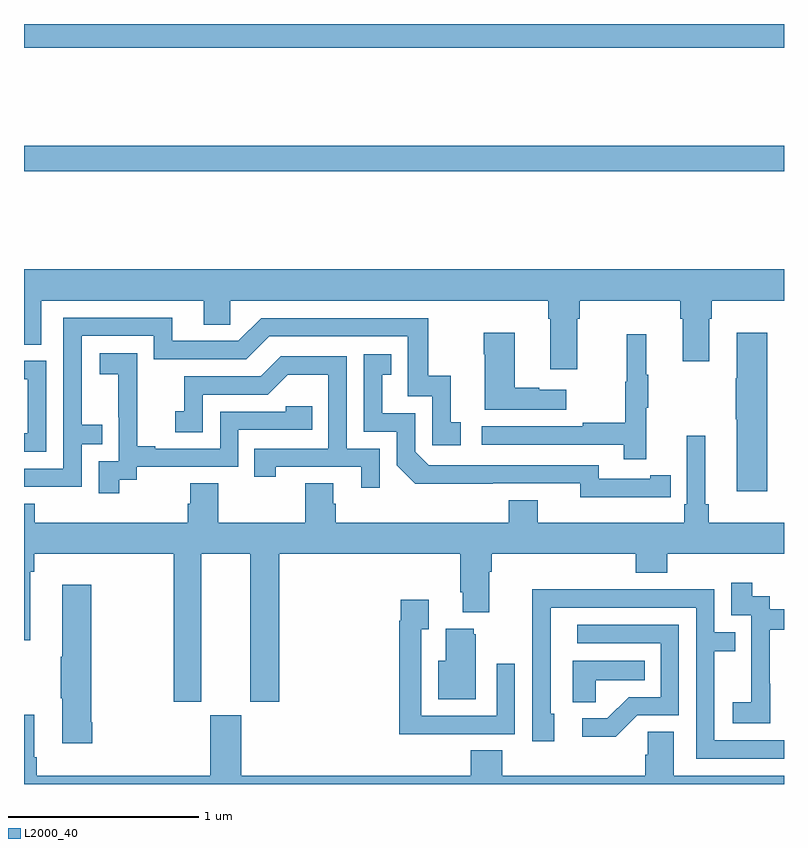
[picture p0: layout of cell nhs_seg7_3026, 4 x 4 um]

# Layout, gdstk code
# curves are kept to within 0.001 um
import gdstk
lib = gdstk.Library(unit=1e-6, precision=1e-09)
def R(c, l, rs):  # rectangles x0, y0, x1, y1
    for r in rs: c.add(gdstk.rectangle(r[:2], r[2:], *l))
def P(c, l, *ps):  # polygons
    for p in ps: c.add(gdstk.Polygon(p, *l))
L2000_40 = (2000, 40)

nhs_seg7_3026 = lib.new_cell('nhs_seg7_3026')
R(nhs_seg7_3026, L2000_40, [(303,1073.224,307,1073.36), (303,1073.876,307,1074)])
P(nhs_seg7_3026, L2000_40, [(305.911,1072.448),(305.924,1072.448),(305.924,1072.544),(306.455,1072.544),(306.455,1072.448),(306.467,1072.448),(306.467,1072.224),(306.607,1072.224),(306.607,1072.448),(306.62,1072.448),(306.62,1072.544),(307,1072.544),(307,1072.708),(303,1072.708),(303,1072.312),(303.091,1072.312),(303.091,1072.544),(303.947,1072.544),(303.947,1072.417),(304.086,1072.417),(304.086,1072.544),(305.759,1072.544),(305.759,1072.448),(305.771,1072.448),(305.771,1072.182),(305.911,1072.182)],
  [(303.303,1071.789),(303.413,1071.789),(303.413,1071.89),(303.303,1071.89),(303.303,1072.359),(303.684,1072.359),(303.684,1072.236),(304.17,1072.236),(304.29,1072.356),(305.019,1072.356),(305.019,1072.041),(305.148,1072.041),(305.148,1071.783),(305.299,1071.783),(305.299,1071.903),(305.246,1071.903),(305.246,1072.15),(305.128,1072.15),(305.128,1072.452),(304.248,1072.452),(304.128,1072.332),(303.781,1072.332),(303.781,1072.455),(303.207,1072.455),(303.207,1071.66),(303,1071.66),(303,1071.564),(303.303,1071.564)],
  [(305.854,1072.075),(305.711,1072.075),(305.711,1072.085),(305.584,1072.085),(305.584,1072.375),(305.419,1072.375),(305.419,1072.262),(305.426,1072.262),(305.426,1071.971),(305.854,1071.971)],
  [(306.911,1072.375),(306.752,1072.375),(306.752,1072.136),(306.745,1072.136),(306.745,1071.919),(306.752,1071.919),(306.752,1071.54),(306.911,1071.54)],
  [(306.275,1071.979),(306.286,1071.979),(306.286,1072.153),(306.275,1072.153),(306.275,1072.366),(306.172,1072.366),(306.172,1072.116),(306.165,1072.116),(306.165,1071.902),(305.941,1071.902),(305.941,1071.882),(305.409,1071.882),(305.409,1071.786),(306.157,1071.786),(306.157,1071.708),(306.275,1071.708)],
  [(303.502,1071.601),(303.594,1071.601),(303.594,1071.669),(304.128,1071.669),(304.128,1071.864),(304.517,1071.864),(304.517,1071.987),(304.377,1071.987),(304.377,1071.96),(304.032,1071.96),(304.032,1071.765),(303.691,1071.765),(303.691,1071.778),(303.596,1071.778),(303.596,1072.061),(303.597,1072.061),(303.597,1072.267),(303.399,1072.267),(303.399,1072.157),(303.497,1072.157),(303.497,1071.929),(303.498,1071.929),(303.498,1071.699),(303.393,1071.699),(303.393,1071.531),(303.502,1071.531)],
  [(306.296,1071.51),(306.404,1071.51),(306.404,1071.626),(306.296,1071.626),(306.296,1071.606),(306.024,1071.606),(306.024,1071.678),(305.13,1071.678),(305.058,1071.75),(305.058,1071.951),(304.885,1071.951),(304.885,1072.155),(304.934,1072.155),(304.934,1072.261),(304.788,1072.261),(304.788,1071.855),(304.962,1071.855),(304.962,1071.678),(305.06,1071.581),(305.928,1071.582),(305.928,1071.509)],
  [(304.872,1071.765),(304.698,1071.765),(304.698,1072.251),(304.352,1072.251),(304.247,1072.146),(303.844,1072.146),(303.844,1071.961),(303.795,1071.961),(303.795,1071.852),(303.942,1071.852),(303.942,1072.05),(304.284,1072.05),(304.388,1072.154),(304.602,1072.154),(304.602,1071.765),(304.213,1071.765),(304.213,1071.618),(304.324,1071.618),(304.324,1071.669),(304.775,1071.669),(304.775,1071.558),(304.872,1071.558)],
  [(303.117,1072.227),(303,1072.227),(303,1072.131),(303.021,1072.131),(303.021,1071.846),(303,1071.846),(303,1071.75),(303.117,1071.75)],
  [(303,1071.475),(303,1070.757),(303.034,1070.757),(303.034,1071.116),(303.053,1071.116),(303.053,1071.212),(303.787,1071.212),(303.787,1070.433),(303.934,1070.433),(303.934,1071.212),(304.19,1071.212),(304.19,1070.433),(304.343,1070.433),(304.343,1071.212),(305.297,1071.212),(305.297,1071.01),(305.309,1071.01),(305.309,1070.903),(305.449,1070.903),(305.449,1071.116),(305.462,1071.116),(305.462,1071.212),(306.221,1071.212),(306.221,1071.113),(306.386,1071.113),(306.386,1071.212),(307,1071.212),(307,1071.376),(306.605,1071.376),(306.605,1071.472),(306.586,1071.472),(306.586,1071.832),(306.489,1071.832),(306.489,1071.472),(306.476,1071.472),(306.476,1071.376),(305.704,1071.376),(305.704,1071.493),(305.552,1071.493),(305.552,1071.376),(304.64,1071.376),(304.64,1071.474),(304.627,1071.474),(304.627,1071.584),(304.48,1071.584),(304.48,1071.376),(304.023,1071.376),(304.023,1071.584),(303.875,1071.584),(303.875,1071.474),(303.863,1071.474),(303.863,1071.376),(303.056,1071.376),(303.056,1071.475)],
  [(306.927,1070.527),(306.926,1070.527),(306.926,1070.811),(307,1070.811),(307,1070.919),(306.924,1070.919),(306.924,1070.988),(306.832,1070.988),(306.832,1071.058),(306.723,1071.058),(306.723,1070.889),(306.828,1070.889),(306.828,1070.66),(306.827,1070.66),(306.827,1070.431),(306.729,1070.431),(306.729,1070.321),(306.927,1070.321)],
  [(303.359,1070.326),(303.354,1070.326),(303.354,1071.049),(303.2,1071.049),(303.2,1070.669),(303.193,1070.669),(303.193,1070.452),(303.2,1070.452),(303.2,1070.214),(303.359,1070.214)],
  [(307,1070.229),(306.633,1070.229),(306.633,1070.698),(306.743,1070.698),(306.743,1070.799),(306.633,1070.799),(306.633,1071.024),(306.137,1071.024),(306.137,1071.026),(305.674,1071.026),(305.674,1070.719),(305.676,1070.719),(305.676,1070.226),(305.791,1070.226),(305.791,1070.37),(305.772,1070.37),(305.772,1070.928),(306.537,1070.928),(306.537,1070.133),(307,1070.133)],
  [(305.267,1070.262),(305.583,1070.262),(305.583,1070.632),(305.487,1070.632),(305.487,1070.358),(305.091,1070.358),(305.091,1070.815),(305.131,1070.815),(305.131,1070.971),(304.983,1070.971),(304.983,1070.858),(304.975,1070.858),(304.975,1070.261),(305.267,1070.261)],
  [(306.228,1070.361),(306.447,1070.361),(306.447,1070.838),(305.913,1070.838),(305.913,1070.742),(306.351,1070.742),(306.351,1070.457),(306.182,1070.457),(306.071,1070.346),(305.937,1070.346),(305.937,1070.249),(306.115,1070.249)],
  [(305.377,1070.787),(305.366,1070.787),(305.366,1070.818),(305.219,1070.818),(305.219,1070.65),(305.18,1070.65),(305.18,1070.447),(305.377,1070.447)],
  [(306.009,1070.546),(306.266,1070.546),(306.266,1070.65),(305.888,1070.65),(305.888,1070.431),(306.009,1070.431)],
  [(307,1070.044),(306.421,1070.044),(306.421,1070.276),(306.282,1070.276),(306.282,1070.153),(306.269,1070.153),(306.269,1070.044),(305.516,1070.044),(305.516,1070.177),(305.351,1070.177),(305.351,1070.044),(304.144,1070.044),(304.144,1070.361),(303.98,1070.361),(303.98,1070.044),(303.068,1070.044),(303.068,1070.14),(303.055,1070.14),(303.055,1070.365),(303,1070.365),(303,1070),(307,1070)])

lib.write_gds('nhs_seg7_3026.gds')
